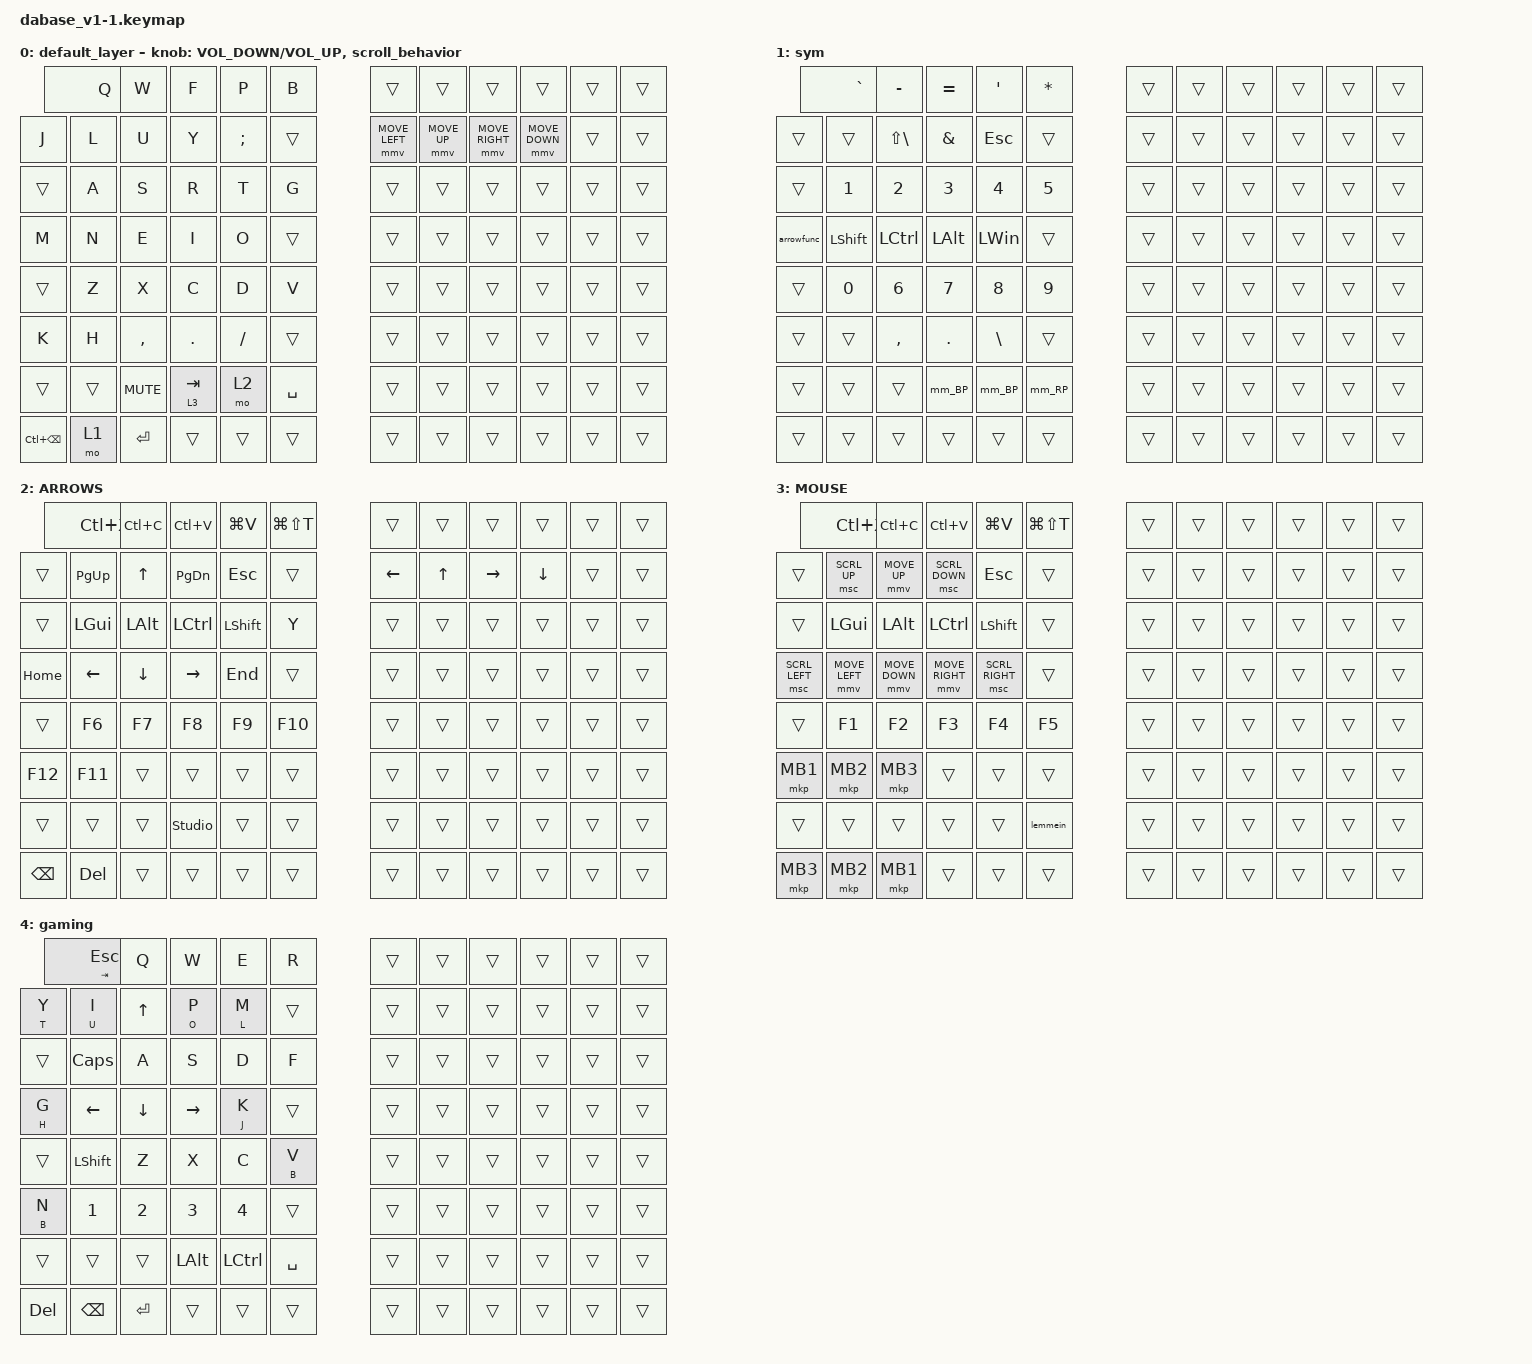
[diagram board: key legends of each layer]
#include <behaviors.dtsi>
#include <dt-bindings/zmk/bt.h>
#include <dt-bindings/zmk/keys.h>
#include <dt-bindings/zmk/pointing.h>

/ {
    behaviors {
        scroll_behavior: scroll_behavior {
            compatible = "zmk,behavior-sensor-rotate";
            label = "SCROLL_BEHAVIOR";
            #sensor-binding-cells = <0>;
            bindings = <&msc SCRL_DOWN>, <&msc SCRL_UP>;

            tap-ms = <1>;
        };

        //  Ctrl + [ → (

        mm_BP: mod_morph_ctrl_brack_to_paren {
            compatible = "zmk,behavior-mod-morph";
            #binding-cells = <0>;
            bindings = <&kp LBKT>, <&kp LPAR>;

            // normal = [, with Ctrl = (

            mods = <(MOD_LCTL|MOD_RCTL)>;
        };

        // Ctrl + ] → )

        mm_RP: mod_morph_ctrl_rbrack_to_paren {
            compatible = "zmk,behavior-mod-morph";
            #binding-cells = <0>;
            bindings = <&kp RBKT>, <&kp RPAR>;

            // normal = ], with Ctrl = )

            mods = <(MOD_LCTL|MOD_RCTL)>;
        };
    };

    combos {
        compatible = "zmk,combos";

        gaming {
            bindings = <&tog 4>;
            key-positions = <41 42>;
        };

        hamza {
            bindings = <&kp X>;
            key-positions = <13 22>;
        };

        hophopclick {
            bindings = <&kp LG(LA(C))>;
            key-positions = <27 26>;
        };

        resetBT {
            bindings = <&bt BT_CLR_ALL>;
            key-positions = <1 5>;
        };

        esc {
            bindings = <&kp ESCAPE>;
            key-positions = <10 43>;
        };

        hophopclick2 {
            bindings = <&kp LG(LA(C))>;
            key-positions = <32 33>;
        };
    };

    macros {
        arrowfunc: new_macro {
            compatible = "zmk,behavior-macro";
            #binding-cells = <0>;
            bindings = <&kp LPAR &kp RPAR &kp EQUAL &kp GT &kp LEFT_BRACE>;
            label = "NEW_MACRO";
        };

        lemmein: lemmein {
            compatible = "zmk,behavior-macro";
            #binding-cells = <0>;
            bindings = <&kp L &kp D &kp HASH &kp H &kp E &kp L &kp L &kp O &kp W &kp O &kp R &kp L &kp D &kp AT_SIGN &kp N2 &kp N9 &kp ENTER>;
            label = "LEMMEIN";
        };

        switch_to_arabic: switch_to_arabic {
            compatible = "zmk,behavior-macro";
            #binding-cells = <0>;
            bindings = <&kp LG(SPACE) &sl 2>;
            label = "SWITCH_TO_ARABIC";
        };
    };

    keymap {
        compatible = "zmk,keymap";
        label = "corne-unified";

        default_layer {
            bindings = <
&trans  &kp Q  &kp W       &kp F      &kp P  &kp B      /**/    &kp J              &kp L  &kp U      &kp Y        &kp SEMI  &trans
&trans  &kp A  &kp S       &kp R      &kp T  &kp G      /**/    &kp M              &kp N  &kp E      &kp I        &kp O     &trans
&trans  &kp Z  &kp X       &kp C      &kp D  &kp V      /**/    &kp K              &kp H  &kp COMMA  &kp PERIOD   &kp SLASH &trans
&trans  &trans &kp C_MUTE  &lt 3 TAB  &mo 2  &kp SPACE  /**/    &kp LC(BACKSPACE)  &mo 1  &kp ENTER  &trans       &trans    &trans
&trans  &trans  &trans  &trans  &trans  &trans                             &mmv MOVE_LEFT  &mmv MOVE_UP    &mmv MOVE_RIGHT &mmv MOVE_DOWN  &trans  &trans
&trans  &trans  &trans  &trans  &trans  &trans                             &trans  &trans  &trans  &trans  &trans  &trans
&trans  &trans  &trans  &trans  &trans  &trans                             &trans  &trans  &trans  &trans  &trans  &trans
&trans  &trans  &trans  &trans  &trans  &trans                             &trans  &trans  &trans  &trans  &trans  &trans
            >;

            sensor-bindings =
                <&inc_dec_kp C_VOLUME_DOWN C_VOLUME_UP>,
                <&scroll_behavior>;
        };

        symbol {
            label = "sym";
            bindings = <
&trans  &kp GRAVE &kp MINUS &kp EQUAL &kp APOS &kp ASTRK                   &trans      &trans          &kp LS(BACKSLASH)   &kp AMPS        &kp ESC       &trans
&trans  &kp N1    &kp N2    &kp N3    &kp N4   &kp N5                      &arrowfunc  &kp LEFT_SHIFT  &kp LCTRL           &kp LEFT_ALT    &kp LEFT_WIN  &trans
&trans  &kp N0    &kp N6    &kp N7    &kp N8   &kp N9                      &trans      &trans          &kp COMMA           &kp DOT         &kp BACKSLASH &trans
&trans  &trans  &trans  &mm_BP  &mm_BP  &mm_RP                             &trans  &trans  &trans  &trans  &trans  &trans
&trans  &trans  &trans  &trans  &trans  &trans                             &trans  &trans  &trans  &trans  &trans  &trans
&trans  &trans  &trans  &trans  &trans  &trans                             &trans  &trans  &trans  &trans  &trans  &trans
&trans  &trans  &trans  &trans  &trans  &trans                             &trans  &trans  &trans  &trans  &trans  &trans
&trans  &trans  &trans  &trans  &trans  &trans                             &trans  &trans  &trans  &trans  &trans  &trans
            >;
        };

        ARROWS {
            bindings = <
&trans &kp LC(X)    &kp LC(C)    &kp LC(V)      &kp LG(V)      &kp LG(LS(T))                    &trans      &kp PG_UP   &kp UP      &kp PG_DN   &kp ESC &trans
&trans &kp LEFT_GUI &kp LEFT_ALT &kp LCTRL      &kp LEFT_SHIFT &kp Y                            &kp HOME    &kp LEFT    &kp DOWN    &kp RIGHT   &kp END &trans
&trans &kp F6       &kp F7       &kp F8         &kp F9         &kp F10                          &kp F12     &kp F11     &trans      &trans      &trans  &trans
&trans &trans       &trans       &studio_unlock &trans         &trans                           &kp BSPC    &kp DELETE  &trans      &trans      &trans  &trans
&trans  &trans  &trans  &trans  &trans  &trans                                                  &kp LEFT  &kp UP  &kp RIGHT  &kp DOWN  &trans  &trans
&trans  &trans  &trans  &trans  &trans  &trans                                                  &trans  &trans  &trans  &trans  &trans  &trans
&trans  &trans  &trans  &trans  &trans  &trans                                                  &trans  &trans  &trans  &trans  &trans  &trans
&trans  &trans  &trans  &trans  &trans  &trans                                                  &trans  &trans  &trans  &trans  &trans  &trans
            >;
        };

        MOUSE {
            bindings = <
&trans  &kp LC(X)      &kp LC(C)      &kp LC(V)       &kp LG(V)       &kp LG(LS(T))          &trans          &msc SCRL_UP    &mmv MOVE_UP    &msc SCRL_DOWN  &kp ESCAPE      &trans
&trans  &kp LEFT_GUI   &kp LEFT_ALT   &kp LCTRL       &kp LEFT_SHIFT  &trans                 &msc SCRL_LEFT  &mmv MOVE_LEFT  &mmv MOVE_DOWN  &mmv MOVE_RIGHT &msc SCRL_RIGHT &trans
&trans  &kp F1         &kp F2         &kp F3          &kp F4          &kp F5                 &mkp MB1        &mkp MB2        &mkp MB3        &trans          &trans          &trans
&trans  &trans         &trans         &trans          &trans          &lemmein               &mkp MB3        &mkp MB2        &mkp MB1        &trans          &trans          &trans
&trans  &trans         &trans         &trans          &trans          &trans                 &trans          &trans          &trans          &trans          &trans          &trans
&trans  &trans         &trans         &trans          &trans          &trans                 &trans          &trans          &trans          &trans          &trans          &trans
&trans  &trans         &trans         &trans          &trans          &trans                 &trans          &trans          &trans          &trans          &trans          &trans
&trans  &trans         &trans         &trans          &trans          &trans                 &trans          &trans          &trans          &trans          &trans          &trans
            >;
        };

        gaming {
            bindings = <
&trans  &mt TAB ESCAPE &kp Q   &kp W        &kp E     &kp R           &mt T Y  &mt U I       &kp UP    &mt O P   &mt L M  &trans
&trans  &kp CAPS       &kp A   &kp S        &kp D     &kp F           &mt H G  &kp LEFT      &kp DOWN  &kp RIGHT &mt J K  &trans
&trans  &kp LEFT_SHIFT &kp Z   &kp X        &kp C     &mt B V         &mt B N  &kp N1        &kp N2    &kp N3    &kp N4   &trans
&trans  &trans         &trans  &kp LEFT_ALT &kp LCTRL &kp SPACE       &kp DEL  &kp BACKSPACE &kp ENTER &trans    &trans   &trans
&trans  &trans  &trans  &trans  &trans  &trans                        &trans  &trans  &trans  &trans  &trans  &trans
&trans  &trans  &trans  &trans  &trans  &trans                        &trans  &trans  &trans  &trans  &trans  &trans
&trans  &trans  &trans  &trans  &trans  &trans                        &trans  &trans  &trans  &trans  &trans  &trans
&trans  &trans  &trans  &trans  &trans  &trans                        &trans  &trans  &trans  &trans  &trans  &trans
            >;
        };
    };
};
